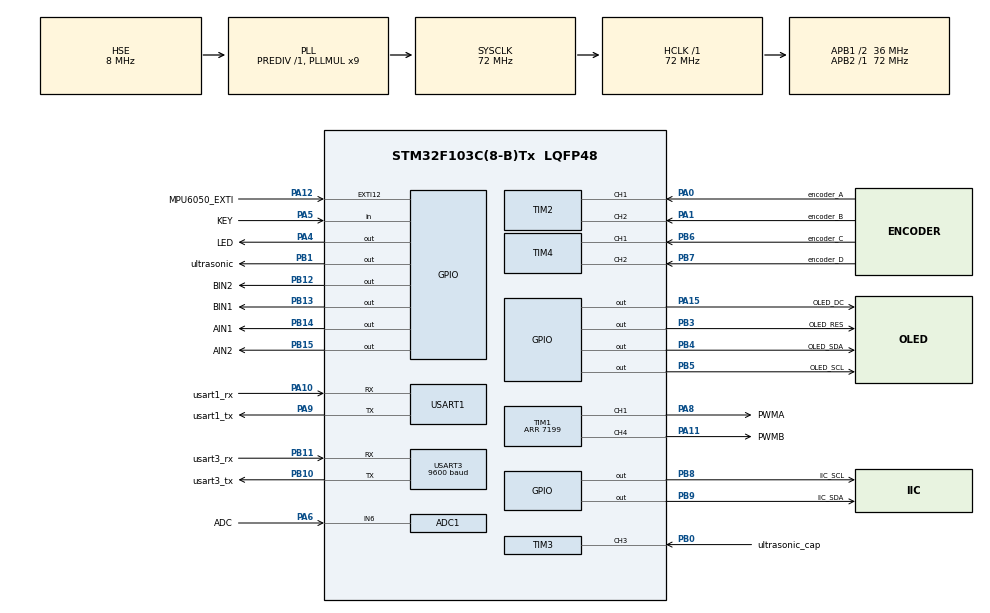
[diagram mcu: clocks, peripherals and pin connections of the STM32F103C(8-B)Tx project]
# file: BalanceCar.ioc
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ADC1.Channel-0\#ChannelRegularConversion=ADC_CHANNEL_6
ADC1.NbrOfConversionFlag=1
ADC1.Rank-0\#ChannelRegularConversion=1
ADC1.SamplingTime-0\#ChannelRegularConversion=ADC_SAMPLETIME_239CYCLES_5
ADC1.master=1
Mcu.Family=STM32F1
Mcu.Name=STM32F103C(8-B)Tx
Mcu.Package=LQFP48
NVIC.EXTI15_10_IRQn=true\:2\:1\:true\:false\:true\:true\:true\:true
NVIC.PriorityGroup=NVIC_PRIORITYGROUP_2
NVIC.TIM3_IRQn=true\:1\:1\:true\:false\:true\:true\:true\:true
NVIC.USART3_IRQn=true\:0\:1\:false\:false\:true\:true\:true\:true
PA0-WKUP.GPIO_Label=encoder_A
PA0-WKUP.Signal=S_TIM2_CH1_ETR
PA1.GPIO_Label=encoder_B
PA1.Signal=S_TIM2_CH2
PA10.GPIO_Label=usart1_rx
PA10.Mode=Asynchronous
PA10.Signal=USART1_RX
PA11.GPIO_Label=PWMB
PA11.Signal=S_TIM1_CH4
PA12.GPIO_Label=MPU6050_EXTI
PA12.GPIO_ModeDefaultEXTI=GPIO_MODE_IT_FALLING
PA12.GPIO_PuPd=GPIO_PULLUP
PA12.Signal=GPXTI12
PA13.Mode=Serial_Wire
PA13.Signal=SYS_JTMS-SWDIO
PA14.Mode=Serial_Wire
PA14.Signal=SYS_JTCK-SWCLK
PA15.GPIO_Label=OLED_DC
PA15.GPIO_Speed=GPIO_SPEED_FREQ_MEDIUM
PA15.Signal=GPIO_Output
PA4.GPIO_Label=LED
PA4.GPIO_ModeDefaultOutputPP=GPIO_MODE_OUTPUT_PP
PA4.GPIO_PuPd=GPIO_NOPULL
PA4.GPIO_Speed=GPIO_SPEED_FREQ_HIGH
PA4.PinState=GPIO_PIN_SET
PA4.Signal=GPIO_Output
PA5.GPIO_Label=KEY
PA5.GPIO_PuPd=GPIO_PULLUP
PA5.Signal=GPIO_Input
PA6.GPIO_Label=ADC
PA6.Signal=ADCx_IN6
PA8.GPIO_Label=PWMA
PA8.Signal=S_TIM1_CH1
PA9.GPIO_Label=usart1_tx
PA9.Mode=Asynchronous
PA9.Signal=USART1_TX
PB0.GPIO_Label=ultrasonic_cap
PB0.Signal=S_TIM3_CH3
PB1.GPIO_Label=ultrasonic
PB1.GPIO_Speed=GPIO_SPEED_FREQ_HIGH
PB1.Signal=GPIO_Output
PB10.GPIO_Label=usart3_tx
PB10.Mode=Asynchronous
PB10.Signal=USART3_TX
PB11.GPIO_Label=usart3_rx
PB11.Mode=Asynchronous
PB11.Signal=USART3_RX
PB12.GPIO_Label=BIN2
PB12.GPIO_Speed=GPIO_SPEED_FREQ_HIGH
PB12.Signal=GPIO_Output
PB13.GPIO_Label=BIN1
PB13.GPIO_Speed=GPIO_SPEED_FREQ_HIGH
PB13.Signal=GPIO_Output
PB14.GPIO_Label=AIN1
PB14.GPIO_Speed=GPIO_SPEED_FREQ_HIGH
PB14.Signal=GPIO_Output
PB15.GPIO_Label=AIN2
PB15.GPIO_Speed=GPIO_SPEED_FREQ_HIGH
PB15.Signal=GPIO_Output
PB3.GPIO_Label=OLED_RES
PB3.GPIO_Speed=GPIO_SPEED_FREQ_MEDIUM
PB3.Signal=GPIO_Output
PB4.GPIO_Label=OLED_SDA
PB4.GPIO_Speed=GPIO_SPEED_FREQ_MEDIUM
PB4.Signal=GPIO_Output
PB5.GPIO_Label=OLED_SCL
PB5.GPIO_Speed=GPIO_SPEED_FREQ_MEDIUM
PB5.Signal=GPIO_Output
PB6.GPIO_Label=encoder_C
PB6.Signal=S_TIM4_CH1
PB7.GPIO_Label=encoder_D
PB7.Signal=S_TIM4_CH2
PB8.GPIO_Label=IIC_SCL
PB8.GPIO_Speed=GPIO_SPEED_FREQ_HIGH
PB8.PinState=GPIO_PIN_SET
PB8.Signal=GPIO_Output
PB9.GPIO_Label=IIC_SDA
PB9.GPIO_Speed=GPIO_SPEED_FREQ_HIGH
PB9.PinState=GPIO_PIN_SET
PB9.Signal=GPIO_Output
PD0-OSC_IN.Mode=HSE-External-Oscillator
PD0-OSC_IN.Signal=RCC_OSC_IN
PD1-OSC_OUT.Mode=HSE-External-Oscillator
PD1-OSC_OUT.Signal=RCC_OSC_OUT
ProjectManager.HeapSize=0x200
ProjectManager.StackSize=0x400
ProjectManager.TargetToolchain=MDK-ARM V5.32
RCC.ADCPresc=RCC_ADCPCLK2_DIV6
RCC.AHBFreq_Value=72000000
RCC.APB1CLKDivider=RCC_HCLK_DIV2
RCC.APB1Freq_Value=36000000
RCC.APB1TimFreq_Value=72000000
RCC.APB2Freq_Value=72000000
RCC.APB2TimFreq_Value=72000000
RCC.HCLKFreq_Value=72000000
RCC.PLLMUL=RCC_PLL_MUL9
RCC.PLLSourceVirtual=RCC_PLLSOURCE_HSE
RCC.SYSCLKFreq_VALUE=72000000
RCC.SYSCLKSource=RCC_SYSCLKSOURCE_PLLCLK
RCC.TimSys_Div=SYSTICK_CLKSOURCE_HCLK_DIV8
RCC.USBFreq_Value=72000000
SH.ADCx_IN6.0=ADC1_IN6,IN6
SH.S_TIM1_CH1.0=TIM1_CH1,PWM Generation1 CH1
SH.S_TIM1_CH4.0=TIM1_CH4,PWM Generation4 CH4
SH.S_TIM2_CH1_ETR.0=TIM2_CH1,Encoder_Interface
SH.S_TIM2_CH2.0=TIM2_CH2,Encoder_Interface
SH.S_TIM3_CH3.0=TIM3_CH3,Input_Capture3_from_TI3
SH.S_TIM4_CH1.0=TIM4_CH1,Encoder_Interface
SH.S_TIM4_CH2.0=TIM4_CH2,Encoder_Interface
TIM1.AutoReloadPreload=TIM_AUTORELOAD_PRELOAD_ENABLE
TIM1.Channel-PWM\ Generation1\ CH1=TIM_CHANNEL_1
TIM1.Channel-PWM\ Generation4\ CH4=TIM_CHANNEL_4
TIM1.Period=7199
TIM2.EncoderMode=TIM_ENCODERMODE_TI12
TIM2.IC1Filter=10
TIM2.IC2Filter=10
TIM3.AutoReloadPreload=TIM_AUTORELOAD_PRELOAD_ENABLE
TIM3.Channel-Input_Capture3_from_TI3=TIM_CHANNEL_3
TIM3.Prescaler=72-1
TIM4.EncoderMode=TIM_ENCODERMODE_TI12
TIM4.IC1Filter=10
TIM4.IC2Filter=10
USART1.VirtualMode=VM_ASYNC
USART3.BaudRate=9600
USART3.VirtualMode=VM_ASYNC
VP_TIM1_VS_ClockSourceINT.Mode=Internal
VP_TIM3_VS_ClockSourceINT.Mode=Internal
board=custom

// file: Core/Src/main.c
/* USER CODE BEGIN Header */
/**
 ******************************************************************************
 * @file           : main.c
 * @brief          : Main program body
 ******************************************************************************
 * @attention
 *
 * <h2><center>&copy; Copyright (c) 2021 STMicroelectronics.
 * All rights reserved.</center></h2>
 *
 * This software component is licensed by ST under BSD 3-Clause license,
 * the "License"; You may not use this file except in compliance with the
 * License. You may obtain a copy of the License at:
 *                        opensource.org/licenses/BSD-3-Clause
 *
 ******************************************************************************
 */
/* USER CODE END Header */
#include "main.h"
#include "adc.h"
#include "tim.h"
#include "usart.h"
#include "gpio.h"

/* USER CODE BEGIN Includes */
#include "sys.h"
/* USER CODE END Includes */

/* USER CODE BEGIN PTD */
BalanceCarTypeDef BalanceCar;
/* USER CODE END PTD */

void SystemClock_Config(void);
/* USER CODE BEGIN PFP */
void BalanceCar_Init(void);
/* USER CODE END PFP */

int main(void)
{

    /* MCU Configuration--------------------------------------------------------*/

    /* Reset of all peripherals, Initializes the Flash interface and the Systick. */
    HAL_Init();

    /* Configure the system clock */
    SystemClock_Config();

    /* Initialize all configured peripherals */
    MX_GPIO_Init();
    MX_USART1_UART_Init();
    MX_USART3_UART_Init();
    MX_TIM3_Init();
    MX_TIM1_Init();
    MX_TIM2_Init();
    MX_TIM4_Init();
    MX_ADC1_Init();
    /* USER CODE BEGIN 2 */
    JTAG_Set(JTAG_SWD_DISABLE);         // 关闭JTAG接口
    JTAG_Set(SWD_ENABLE);               // 打开SWD接口 可以利用主板的SWD接口调试
    delay_init();                       // 延迟函数初始化
    OLED_Init();                        // OLED初始化
    MPU6050_initialize();               // MPU6050初始化
    DMP_Init();                         // 初始化DMP

    kalman_filter_init();   /*!< 卡尔曼滤波参数初始化 */
    BalanceCar_Init();      /*!< 平衡车相关参数初始化 */
    PID_Init();             /*!< PID算法参数初始化 */

    HAL_NVIC_EnableIRQ(EXTI15_10_IRQn); // 开启引脚外部中断
    /* USER CODE END 2 */
    /* Infinite loop */
    while (1)
    {
        if (BalanceCar.Flag_Show == 0) // 使用MiniBalance APP和OLED显示屏
        {
            oled_show(); // 显示屏打开
        }
    }
}

void SystemClock_Config(void)
{
    RCC_OscInitTypeDef RCC_OscInitStruct = {0};
    RCC_ClkInitTypeDef RCC_ClkInitStruct = {0};
    RCC_PeriphCLKInitTypeDef PeriphClkInit = {0};

    /** Initializes the RCC Oscillators according to the specified parameters
     * in the RCC_OscInitTypeDef structure.
     */
    RCC_OscInitStruct.OscillatorType = RCC_OSCILLATORTYPE_HSE;
    RCC_OscInitStruct.HSEState = RCC_HSE_ON;
    RCC_OscInitStruct.HSEPredivValue = RCC_HSE_PREDIV_DIV1;
    RCC_OscInitStruct.HSIState = RCC_HSI_ON;
    RCC_OscInitStruct.PLL.PLLState = RCC_PLL_ON;
    RCC_OscInitStruct.PLL.PLLSource = RCC_PLLSOURCE_HSE;
    RCC_OscInitStruct.PLL.PLLMUL = RCC_PLL_MUL9;
    if (HAL_RCC_OscConfig(&RCC_OscInitStruct) != HAL_OK)
    {
        Error_Handler();
    }
    /** Initializes the CPU, AHB and APB buses clocks
     */
    RCC_ClkInitStruct.ClockType = RCC_CLOCKTYPE_HCLK | RCC_CLOCKTYPE_SYSCLK | RCC_CLOCKTYPE_PCLK1 | RCC_CLOCKTYPE_PCLK2;
    RCC_ClkInitStruct.SYSCLKSource = RCC_SYSCLKSOURCE_PLLCLK;
    RCC_ClkInitStruct.AHBCLKDivider = RCC_SYSCLK_DIV1;
    RCC_ClkInitStruct.APB1CLKDivider = RCC_HCLK_DIV2;
    RCC_ClkInitStruct.APB2CLKDivider = RCC_HCLK_DIV1;

    if (HAL_RCC_ClockConfig(&RCC_ClkInitStruct, FLASH_LATENCY_2) != HAL_OK)
    {
        Error_Handler();
    }
    PeriphClkInit.PeriphClockSelection = RCC_PERIPHCLK_ADC;
    PeriphClkInit.AdcClockSelection = RCC_ADCPCLK2_DIV6;
    if (HAL_RCCEx_PeriphCLKConfig(&PeriphClkInit) != HAL_OK)
    {
        Error_Handler();
    }
}

/* USER CODE BEGIN 4 */
void BalanceCar_Init(void)
{
    BalanceCar.Flag_velocity = 2;
    BalanceCar.Flag_Stop = 1;
    BalanceCar.Flag_Show = 0;
    BalanceCar.Flag_follow = 0;
    BalanceCar.Flag_avoid = 0;
}

/* USER CODE END 4 */

void Error_Handler(void)
{
    __disable_irq();
    while (1)
    {
    }
}

/************************ (C) COPYRIGHT STMicroelectronics *****END OF FILE****/
